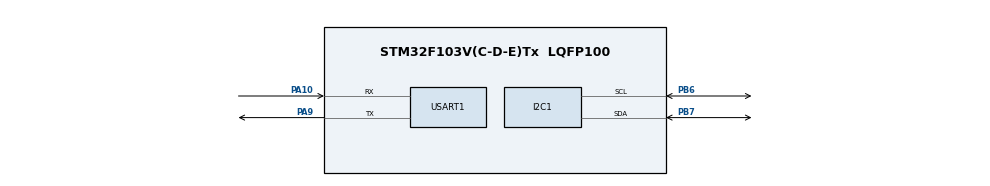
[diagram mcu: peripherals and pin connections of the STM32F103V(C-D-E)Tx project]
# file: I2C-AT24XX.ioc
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Mcu.Family=STM32F1
Mcu.Name=STM32F103V(C-D-E)Tx
Mcu.Package=LQFP100
NVIC.PriorityGroup=NVIC_PRIORITYGROUP_4
OSC_IN.Mode=HSE-External-Oscillator
OSC_IN.Signal=RCC_OSC_IN
OSC_OUT.Mode=HSE-External-Oscillator
OSC_OUT.Signal=RCC_OSC_OUT
PA10.Mode=Asynchronous
PA10.Signal=USART1_RX
PA9.Mode=Asynchronous
PA9.Signal=USART1_TX
PB6.Mode=I2C
PB6.Signal=I2C1_SCL
PB7.Mode=I2C
PB7.Signal=I2C1_SDA
ProjectManager.HeapSize=0x400
ProjectManager.StackSize=0x200
ProjectManager.TargetToolchain=STM32CubeIDE
RCC.APB1Freq_Value=8000000
RCC.APB2Freq_Value=8000000
USART1.VirtualMode=VM_ASYNC
board=I2C-AT24XX

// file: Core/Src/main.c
/**
  ******************************************************************************
  * File Name          : main.c
  * Description        : Main program body
  ******************************************************************************
  *
  * COPYRIGHT(c) 2020 STMicroelectronics
  *
  * Redistribution and use in source and binary forms, with or without modification,
  * are permitted provided that the following conditions are met:
  *   1. Redistributions of source code must retain the above copyright notice,
  *      this list of conditions and the following disclaimer.
  *   2. Redistributions in binary form must reproduce the above copyright notice,
  *      this list of conditions and the following disclaimer in the documentation
  *      and/or other materials provided with the distribution.
  *   3. Neither the name of STMicroelectronics nor the names of its contributors
  *      may be used to endorse or promote products derived from this software
  *      without specific prior written permission.
  *
  * THIS SOFTWARE IS PROVIDED BY THE COPYRIGHT HOLDERS AND CONTRIBUTORS "AS IS"
  * AND ANY EXPRESS OR IMPLIED WARRANTIES, INCLUDING, BUT NOT LIMITED TO, THE
  * IMPLIED WARRANTIES OF MERCHANTABILITY AND FITNESS FOR A PARTICULAR PURPOSE ARE
  * DISCLAIMED. IN NO EVENT SHALL THE COPYRIGHT HOLDER OR CONTRIBUTORS BE LIABLE
  * FOR ANY DIRECT, INDIRECT, INCIDENTAL, SPECIAL, EXEMPLARY, OR CONSEQUENTIAL
  * DAMAGES (INCLUDING, BUT NOT LIMITED TO, PROCUREMENT OF SUBSTITUTE GOODS OR
  * SERVICES; LOSS OF USE, DATA, OR PROFITS; OR BUSINESS INTERRUPTION) HOWEVER
  * CAUSED AND ON ANY THEORY OF LIABILITY, WHETHER IN CONTRACT, STRICT LIABILITY,
  * OR TORT (INCLUDING NEGLIGENCE OR OTHERWISE) ARISING IN ANY WAY OUT OF THE USE
  * OF THIS SOFTWARE, EVEN IF ADVISED OF THE POSSIBILITY OF SUCH DAMAGE.
  *
  ******************************************************************************
  */
#include "stm32f1xx_hal.h"
#include "i2c.h"
#include "usart.h"
#include "gpio.h"
#include "string.h"

/* USER CODE BEGIN PV */
/* Private variables ---------------------------------------------------------*/
#define ADDR_24LCxx_Write 0xA0
#define ADDR_24LCxx_Read 0xA1
#define BufferSize 0xFF
uint8_t WriteBuffer[BufferSize],ReadBuffer[BufferSize];
uint16_t i;
/* USER CODE END PV */

void SystemClock_Config(void);

/* USER CODE BEGIN PFP */
/* Private function prototypes -----------------------------------------------*/

/* USER CODE END PFP */

int main(void)
{

  /* MCU Configuration----------------------------------------------------------*/

  /* Reset of all peripherals, Initializes the Flash interface and the Systick. */
  HAL_Init();

  /* Configure the system clock */
  SystemClock_Config();

  /* Initialize all configured peripherals */
  MX_GPIO_Init();
  MX_I2C1_Init();
  MX_USART1_UART_Init();

  /* USER CODE BEGIN 2 */
  printf("\r\n***************I2C Example*******************************\r\n");
  for(i=0; i<256; i++)
  	WriteBuffer[i]=i;	 /* WriteBuffer init */
  /* write date to EEPROM */
  if(HAL_I2C_Mem_Write(&hi2c1, ADDR_24LCxx_Write, 0, I2C_MEMADD_SIZE_8BIT,WriteBuffer,BufferSize, 0x10) == HAL_OK)
  	printf("\r\n EEPROM 24C02 Write Test OK \r\n");
  else
  	printf("\r\n EEPROM 24C02 Write Test False \r\n");

  /* read date from EEPROM */
  HAL_I2C_Mem_Read(&hi2c1, ADDR_24LCxx_Read, 0, I2C_MEMADD_SIZE_8BIT,ReadBuffer,BufferSize, 0x10);

  if(memcmp(WriteBuffer,ReadBuffer,BufferSize) == 0 ) /* check date */
  	printf("\r\n EEPROM 24C02 Read Test OK\r\n");
  else
  	printf("\r\n EEPROM 24C02 Read Test False\r\n");

  printf("%d \r\n", sizeof(ReadBuffer[BufferSize]));

  /* USER CODE END 2 */

  /* Infinite loop */
  while (1)
  {

  }

}

/** System Clock Configuration
*/
void SystemClock_Config(void)
{

  RCC_OscInitTypeDef RCC_OscInitStruct;
  RCC_ClkInitTypeDef RCC_ClkInitStruct;

  RCC_OscInitStruct.OscillatorType = RCC_OSCILLATORTYPE_HSI;
  RCC_OscInitStruct.HSIState = RCC_HSI_ON;
  RCC_OscInitStruct.HSICalibrationValue = 16;
  RCC_OscInitStruct.PLL.PLLState = RCC_PLL_NONE;
  HAL_RCC_OscConfig(&RCC_OscInitStruct);

  RCC_ClkInitStruct.ClockType = RCC_CLOCKTYPE_HCLK|RCC_CLOCKTYPE_SYSCLK
                              |RCC_CLOCKTYPE_PCLK1|RCC_CLOCKTYPE_PCLK2;
  RCC_ClkInitStruct.SYSCLKSource = RCC_SYSCLKSOURCE_HSI;
  RCC_ClkInitStruct.AHBCLKDivider = RCC_SYSCLK_DIV1;
  RCC_ClkInitStruct.APB1CLKDivider = RCC_HCLK_DIV1;
  RCC_ClkInitStruct.APB2CLKDivider = RCC_HCLK_DIV1;
  HAL_RCC_ClockConfig(&RCC_ClkInitStruct, FLASH_LATENCY_0);

  HAL_SYSTICK_Config(HAL_RCC_GetHCLKFreq()/1000);

  HAL_SYSTICK_CLKSourceConfig(SYSTICK_CLKSOURCE_HCLK);

  /* SysTick_IRQn interrupt configuration */
  HAL_NVIC_SetPriority(SysTick_IRQn, 0, 0);
}

/* USER CODE BEGIN 4 */
#ifdef __GNUC__
  /* With GCC/RAISONANCE, small printf (option LD Linker->Libraries->Small printf
     set to 'Yes') calls __io_putchar() */
  #define PUTCHAR_PROTOTYPE int __io_putchar(int ch)
#else
  #define PUTCHAR_PROTOTYPE int fputc(int ch, FILE *f)
#endif /* __GNUC__ */
/**
  * @brief  Retargets the C library printf function to the USART.
  * @param  None
  * @retval None
  */
PUTCHAR_PROTOTYPE
{
  /* Place your implementation of fputc here */
  /* e.g. write a character to the EVAL_COM1 and Loop until the end of transmission */
  HAL_UART_Transmit(&huart1, (uint8_t *)&ch, 1, 0xFFFF);

  return ch;
}
/* USER CODE END 4 */

/************************ (C) COPYRIGHT STMicroelectronics *****END OF FILE****/
